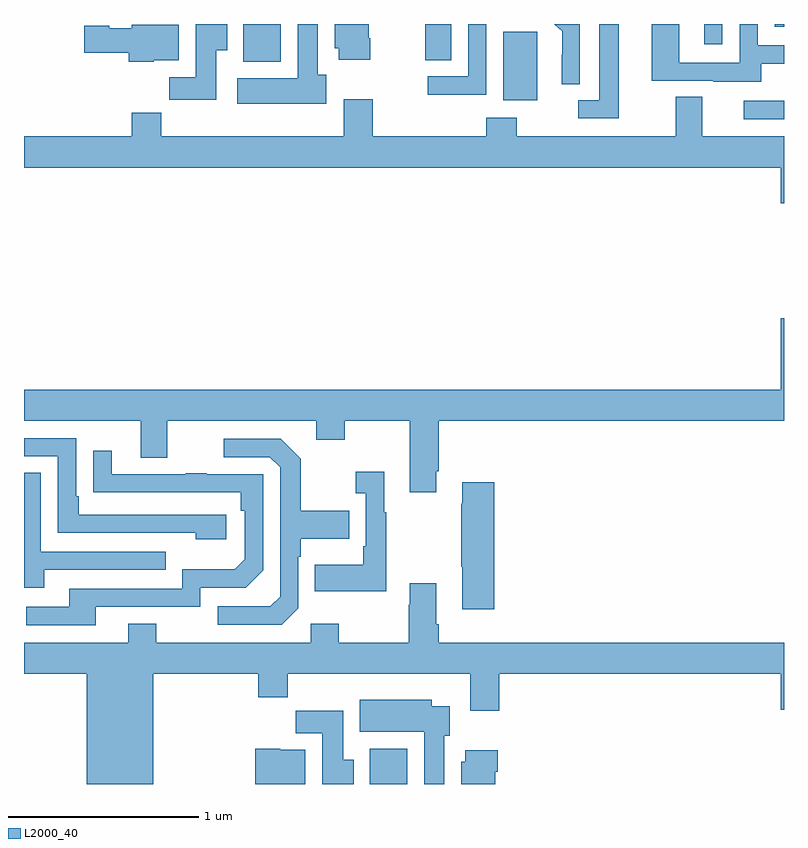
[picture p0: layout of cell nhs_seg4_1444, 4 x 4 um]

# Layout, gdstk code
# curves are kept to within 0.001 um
import gdstk
lib = gdstk.Library(unit=1e-6, precision=1e-09)
def R(c, l, rs):  # rectangles x0, y0, x1, y1
    for r in rs: c.add(gdstk.rectangle(r[:2], r[2:], *l))
def P(c, l, *ps):  # polygons
    for p in ps: c.add(gdstk.Polygon(p, *l))
L2000_40 = (2000, 40)

nhs_seg4_1444 = lib.new_cell('nhs_seg4_1444')
R(nhs_seg4_1444, L2000_40, [(186.821,802.9,187.018,803.086), (188.787,806.4,189,806.496), (187.523,806.498,187.702,806.859), (186.155,806.702,186.352,806.9), (187.111,806.71,187.249,806.9), (188.579,806.793,188.676,806.9), (188.952,806.886,189,806.9)])
P(nhs_seg4_1444, L2000_40, [(188.131,806.9),(188.027,806.9),(188.027,806.499),(187.917,806.499),(187.917,806.403),(188.131,806.403)],
  [(187.926,806.9),(187.792,806.9),(187.832,806.861),(187.832,806.738),(187.83,806.738),(187.83,806.584),(187.926,806.584)],
  [(187.434,806.9),(187.338,806.9),(187.338,806.625),(187.125,806.625),(187.125,806.527),(187.434,806.527)],
  [(186.013,806.761),(186.07,806.761),(186.07,806.9),(185.903,806.9),(185.903,806.62),(185.764,806.62),(185.764,806.502),(186.013,806.502)],
  [(186.592,806.634),(186.547,806.634),(186.547,806.9),(186.44,806.9),(186.44,806.614),(186.123,806.614),(186.123,806.48),(186.592,806.48)],
  [(186.822,806.824),(186.814,806.824),(186.814,806.9),(186.635,806.9),(186.635,806.772),(186.656,806.772),(186.656,806.712),(186.822,806.712)],
  [(188.881,806.691),(189,806.691),(189,806.787),(188.862,806.787),(188.862,806.9),(188.766,806.9),(188.766,806.697),(188.448,806.697),(188.448,806.9),(188.303,806.9),(188.303,806.601),(188.627,806.601),(188.627,806.597),(188.881,806.597)],
  [(185.682,806.708),(185.815,806.708),(185.815,806.896),(185.568,806.896),(185.568,806.878),(185.448,806.878),(185.448,806.891),(185.316,806.891),(185.316,806.749),(185.552,806.749),(185.552,806.702),(185.682,806.702)],
  [(189,806.308),(188.569,806.308),(188.569,806.516),(188.429,806.516),(188.429,806.308),(187.593,806.308),(187.593,806.407),(187.433,806.407),(187.433,806.308),(186.836,806.308),(186.836,806.503),(186.683,806.503),(186.683,806.308),(185.723,806.308),(185.723,806.432),(185.567,806.432),(185.567,806.308),(185,806.308),(185,806.144),(188.984,806.144),(188.984,805.956),(189,805.956)],
  [(187.171,804.547),(187.184,804.547),(187.184,804.812),(189,804.812),(189,805.351),(188.984,805.351),(188.984,804.976),(185,804.976),(185,804.812),(185.615,804.812),(185.615,804.618),(185.755,804.618),(185.755,804.812),(186.539,804.812),(186.539,804.713),(186.687,804.713),(186.687,804.812),(187.031,804.812),(187.031,804.435),(187.171,804.435)],
  [(186.064,804.318),(185.287,804.318),(185.287,804.415),(185.274,804.415),(185.274,804.72),(185,804.72),(185,804.624),(185.178,804.624),(185.178,804.222),(185.903,804.222),(185.903,804.188),(186.064,804.188)],
  [(186.444,803.826),(186.444,804.095),(186.457,804.095),(186.457,804.191),(186.713,804.191),(186.713,804.339),(186.457,804.339),(186.457,804.611),(186.351,804.717),(186.051,804.717),(186.051,804.621),(186.294,804.621),(186.348,804.567),(186.348,803.886),(186.297,803.835),(186.021,803.835),(186.021,803.739),(186.357,803.739)],
  [(185.377,803.832),(185.928,803.832),(185.928,803.934),(186.168,803.934),(186.258,804.024),(186.258,804.531),(185.963,804.531),(185.963,804.536),(185.851,804.536),(185.851,804.531),(185.461,804.531),(185.461,804.655),(185.365,804.655),(185.365,804.436),(186.142,804.435),(186.142,804.338),(186.162,804.338),(186.162,804.084),(186.109,804.031),(185.832,804.031),(185.832,803.928),(185.237,803.928),(185.237,803.832),(185.013,803.832),(185.013,803.736),(185.377,803.736)],
  [(186.907,804.331),(186.895,804.331),(186.895,804.544),(186.747,804.544),(186.747,804.431),(186.798,804.431),(186.798,804.151),(186.786,804.151),(186.786,804.055),(186.529,804.055),(186.529,803.915),(186.907,803.915)],
  [(185.107,804.027),(185.747,804.027),(185.747,804.123),(185.088,804.123),(185.088,804.539),(185,804.539),(185,803.933),(185.107,803.933)],
  [(187.475,804.487),(187.307,804.487),(187.307,804.374),(187.3,804.374),(187.3,804.043),(187.307,804.043),(187.307,803.82),(187.475,803.82)],
  [(185.68,803.48),(186.233,803.48),(186.233,803.356),(186.389,803.356),(186.389,803.48),(187.349,803.48),(187.349,803.286),(187.502,803.286),(187.502,803.48),(188.984,803.48),(188.984,803.292),(189,803.292),(189,803.644),(187.184,803.644),(187.184,803.74),(187.171,803.74),(187.171,803.956),(187.031,803.956),(187.031,803.843),(187.024,803.843),(187.024,803.644),(186.657,803.644),(186.657,803.743),(186.51,803.743),(186.51,803.644),(185.697,803.644),(185.697,803.743),(185.549,803.743),(185.549,803.644),(185,803.644),(185,803.48),(185.33,803.48),(185.33,802.9),(185.68,802.9)],
  [(187.213,803.154),(187.24,803.154),(187.24,803.308),(187.147,803.308),(187.147,803.344),(186.767,803.344),(186.767,803.174),(187.106,803.174),(187.106,802.9),(187.213,802.9)],
  [(186.736,803.028),(186.679,803.028),(186.679,803.286),(186.43,803.286),(186.43,803.168),(186.569,803.168),(186.569,802.9),(186.736,802.9)],
  [(186.481,803.08),(186.348,803.08),(186.348,803.086),(186.218,803.086),(186.218,802.9),(186.481,802.9)],
  [(187.48,802.964),(187.493,802.964),(187.493,803.077),(187.322,803.077),(187.322,803.016),(187.301,803.016),(187.301,802.9),(187.48,802.9)])

lib.write_gds('nhs_seg4_1444.gds')
